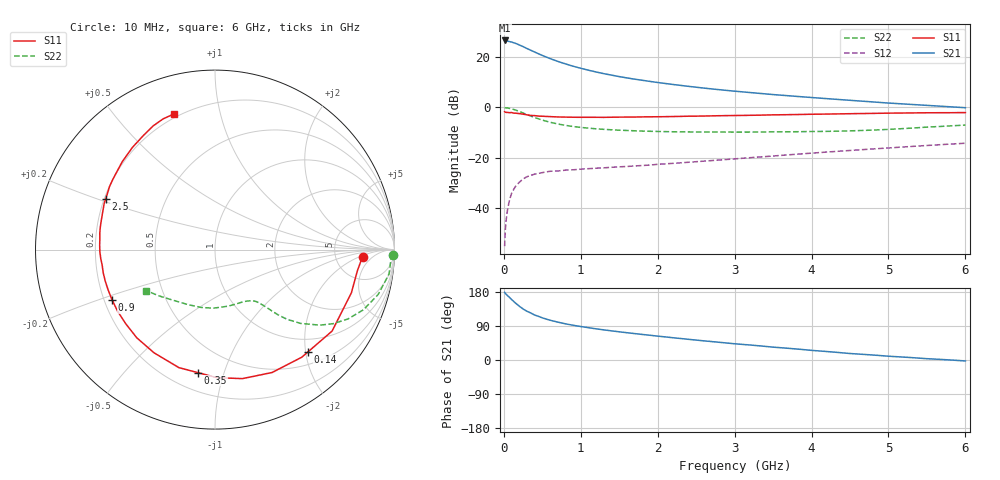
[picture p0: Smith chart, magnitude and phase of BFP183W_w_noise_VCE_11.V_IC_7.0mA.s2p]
! Infineon Technologies  Discrete & RF Semiconductors
! BFP183W
! VCE =  11. V,  IC =  7.0 mA
! Common Emitter S-Parameters:  Jan 2017
# GHz  S  MA  R  50
!  f  S11  S21  S12  S22
! GHz  MAG  ANG  MAG  ANG  MAG  ANG  MAG  ANG
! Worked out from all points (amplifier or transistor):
!   77 points, 10 MHz to 6 GHz, reference 50 ohm
!   highest |S21| = 26.8 dB at 10 MHz (marker M1)
!   |S21| within 3 dB of that: start of sweep to 286.5 MHz
!   unconditionally stable (mu >= 1): 1.965 GHz to 4.011 GHz
!   at 130 MHz: K = 0.11, MSG = 29.2 dB, |S12| = -32.6 dB
!   at 2.2 GHz: K = 1.04, MAG = 14.5 dB, |S12| = -22.3 dB
!   at 6 GHz: K = 0.83, MSG = 7.1 dB, |S12| = -14.3 dB
!   lowest NFmin = 0.82 dB at 450 MHz
!   S11 on the Smith chart (normalised r, x): 10 MHz: 10, -2; 140 MHz: 0.73, -2.04; 350 MHz: 0.31, -0.82; 900 MHz: 0.23, -0.22; 2.5 GHz: 0.21, +0.21; 6 GHz: 0.18, +0.73
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0.01  0.8232 -2.7  21.78 178.4  0.0017 76.3  0.9933 -1.6
0.02  0.8021 -8.4  21.41 175.6  0.0037 93.0  0.9817 -3.2
0.04  0.7965 -14.5  21.2 171.6  0.0075 81.0  0.9791 -6.4
0.1  0.7948 -34.8  20.3 159.6  0.0191 73.6  0.9427 -15.4
0.14  0.7701 -47.8  19.32 152.4  0.0248 66.6  0.9013 -20.7
0.2  0.755 -65.1  17.76 142.1  0.032 59.5  0.8349 -27.6
0.25  0.7349 -78.0  16.42 134.7  0.0374 53.4  0.7768 -32.1
0.3  0.7136 -89.1  15.06 128.6  0.0414 48.9  0.7213 -35.7
0.35  0.6921 -97.9  13.88 124.1  0.044 45.8  0.6745 -38.1
0.4  0.6877 -107.0  12.79 118.7  0.0467 43.1  0.6291 -40.8
0.5  0.6679 -120.6  10.92 111.2  0.05 39.2  0.5596 -44.0
0.6  0.6568 -131.6  9.487 105.0  0.0532 36.4  0.5073 -45.9
0.7  0.6464 -140.4  8.321 100.0  0.0539 35.0  0.4679 -47.1
0.9  0.6382 -154.0  6.662 91.7  0.0569 33.7  0.4165 -48.9
1.1  0.6362 -164.0  5.549 85.3  0.06 34.1  0.3865 -50.3
1.5  0.6415 -178.9  4.135 74.4  0.0652 36.5  0.3516 -54.1
2.1  0.6554 164.3  3.011 60.9  0.0749 41.1  0.3294 -62.8
2.5  0.6713 155.2  2.537 52.6  0.0826 43.7  0.3241 -70.5
3.1  0.6936 143.7  2.05 41.2  0.0967 46.3  0.3223 -82.9
4.1  0.735 127.5  1.54 23.9  0.1256 47.4  0.332 -106.0
5.1  0.7727 115.5  1.199 8.8  0.1591 45.1  0.3719 -131.6
6  0.7898 106.9  0.989 -2.5  0.1931 40.8  0.4455 -149.1
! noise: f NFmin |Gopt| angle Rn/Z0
0.45  0.82  0.16  68  0.11
0.9  0.91  0.21  112  0.1
1.9  1.45  0.39  172  0.07
2.4  1.71  0.45  -173  0.09
